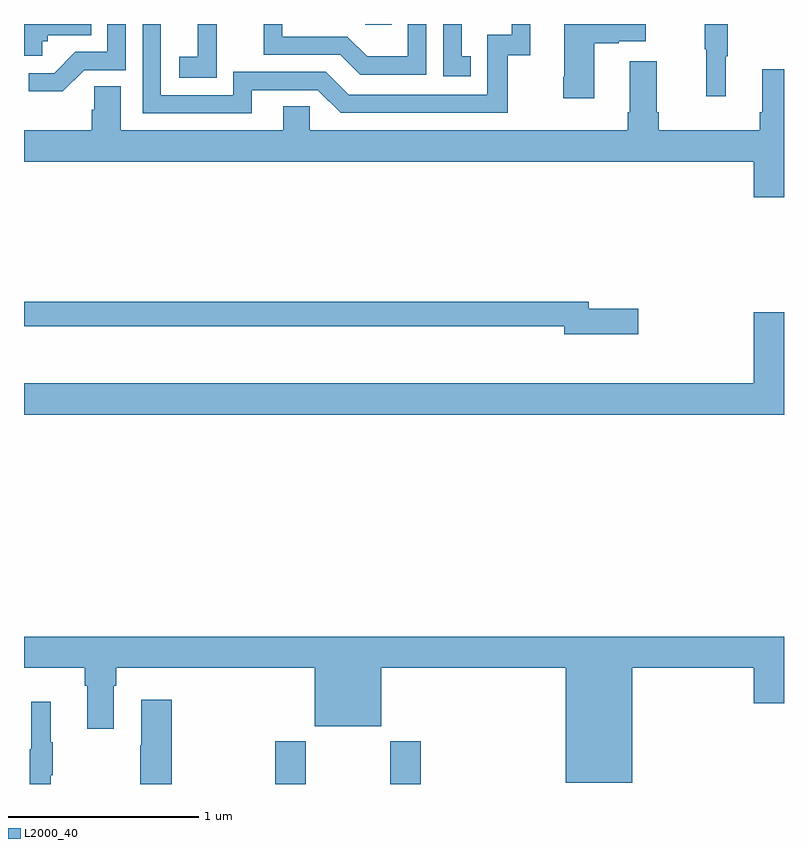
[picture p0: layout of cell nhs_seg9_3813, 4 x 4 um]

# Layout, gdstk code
import gdstk
lib = gdstk.Library(unit=1e-6, precision=1e-09)
def R(c, l, rs):  # rectangles x0, y0, x1, y1
    for r in rs: c.add(gdstk.rectangle(r[:2], r[2:], *l))
def P(c, l, *ps):  # polygons
    for p in ps: c.add(gdstk.Polygon(p, *l))
L2000_40 = (2000, 40)

nhs_seg9_3813 = lib.new_cell('nhs_seg9_3813')
R(nhs_seg9_3813, L2000_40, [(330.323,1170.5,330.483,1170.724), (330.928,1170.5,331.088,1170.724), (330.795,1174.497,330.935,1174.5)])
P(nhs_seg9_3813, L2000_40, [(329.097,1174.41),(329.124,1174.41),(329.124,1174.442),(329.354,1174.442),(329.354,1174.5),(329,1174.5),(329,1174.334),(329.097,1174.334)],
  [(329.316,1174.257),(329.535,1174.257),(329.535,1174.5),(329.439,1174.5),(329.439,1174.353),(329.27,1174.353),(329.159,1174.242),(329.025,1174.242),(329.025,1174.145),(329.203,1174.145)],
  [(332.693,1174.331),(332.704,1174.331),(332.704,1174.5),(332.583,1174.5),(332.583,1174.368),(332.59,1174.368),(332.59,1174.119),(332.693,1174.119)],
  [(332.002,1174.399),(332.129,1174.399),(332.129,1174.409),(332.272,1174.409),(332.272,1174.5),(331.844,1174.5),(331.844,1174.222),(331.837,1174.222),(331.837,1174.11),(332.002,1174.11)],
  [(330.199,1174.152),(330.546,1174.152),(330.666,1174.032),(331.546,1174.032),(331.546,1174.335),(331.664,1174.335),(331.664,1174.5),(331.566,1174.5),(331.566,1174.443),(331.437,1174.443),(331.437,1174.128),(330.708,1174.128),(330.588,1174.248),(330.102,1174.248),(330.102,1174.125),(329.721,1174.125),(329.721,1174.5),(329.625,1174.5),(329.625,1174.029),(330.199,1174.029)],
  [(331.116,1174.5),(331.02,1174.5),(331.02,1174.33),(330.806,1174.33),(330.702,1174.434),(330.36,1174.434),(330.36,1174.5),(330.262,1174.5),(330.262,1174.338),(330.665,1174.338),(330.77,1174.233),(331.116,1174.233)],
  [(330.015,1174.423),(330.014,1174.423),(330.014,1174.5),(329.915,1174.5),(329.915,1174.327),(329.817,1174.327),(329.817,1174.217),(330.015,1174.217)],
  [(331.352,1174.329),(331.303,1174.329),(331.303,1174.5),(331.206,1174.5),(331.206,1174.224),(331.352,1174.224)],
  [(332.84,1173.588),(333,1173.588),(333,1174.261),(332.885,1174.261),(332.885,1174.036),(332.873,1174.036),(332.873,1173.94),(332.342,1173.94),(332.342,1174.036),(332.329,1174.036),(332.329,1174.303),(332.189,1174.303),(332.189,1174.036),(332.177,1174.036),(332.177,1173.94),(330.504,1173.94),(330.504,1174.067),(330.365,1174.067),(330.365,1173.94),(329.509,1173.94),(329.509,1174.172),(329.37,1174.172),(329.37,1174.049),(329.357,1174.049),(329.357,1173.94),(329,1173.94),(329,1173.776),(332.84,1173.776)],
  [(332.233,1173.002),(331.972,1173.002),(331.972,1173.038),(329,1173.038),(329,1172.91),(331.844,1172.91),(331.844,1172.867),(332.233,1172.867)],
  [(333,1172.983),(332.84,1172.983),(332.84,1172.608),(329,1172.608),(329,1172.444),(333,1172.444)],
  [(332.2,1171.112),(332.84,1171.112),(332.84,1170.924),(333,1170.924),(333,1171.276),(329,1171.276),(329,1171.112),(329.321,1171.112),(329.321,1171.016),(329.333,1171.016),(329.333,1170.792),(329.473,1170.792),(329.473,1171.016),(329.486,1171.016),(329.486,1171.112),(330.53,1171.112),(330.53,1170.803),(330.88,1170.803),(330.88,1171.112),(331.85,1171.112),(331.85,1170.506),(332.2,1170.506)],
  [(329.777,1170.943),(329.618,1170.943),(329.618,1170.704),(329.611,1170.704),(329.611,1170.5),(329.777,1170.5)],
  [(329.141,1170.547),(329.152,1170.547),(329.152,1170.721),(329.141,1170.721),(329.141,1170.934),(329.038,1170.934),(329.038,1170.684),(329.031,1170.684),(329.031,1170.5),(329.141,1170.5)])

lib.write_gds('nhs_seg9_3813.gds')
